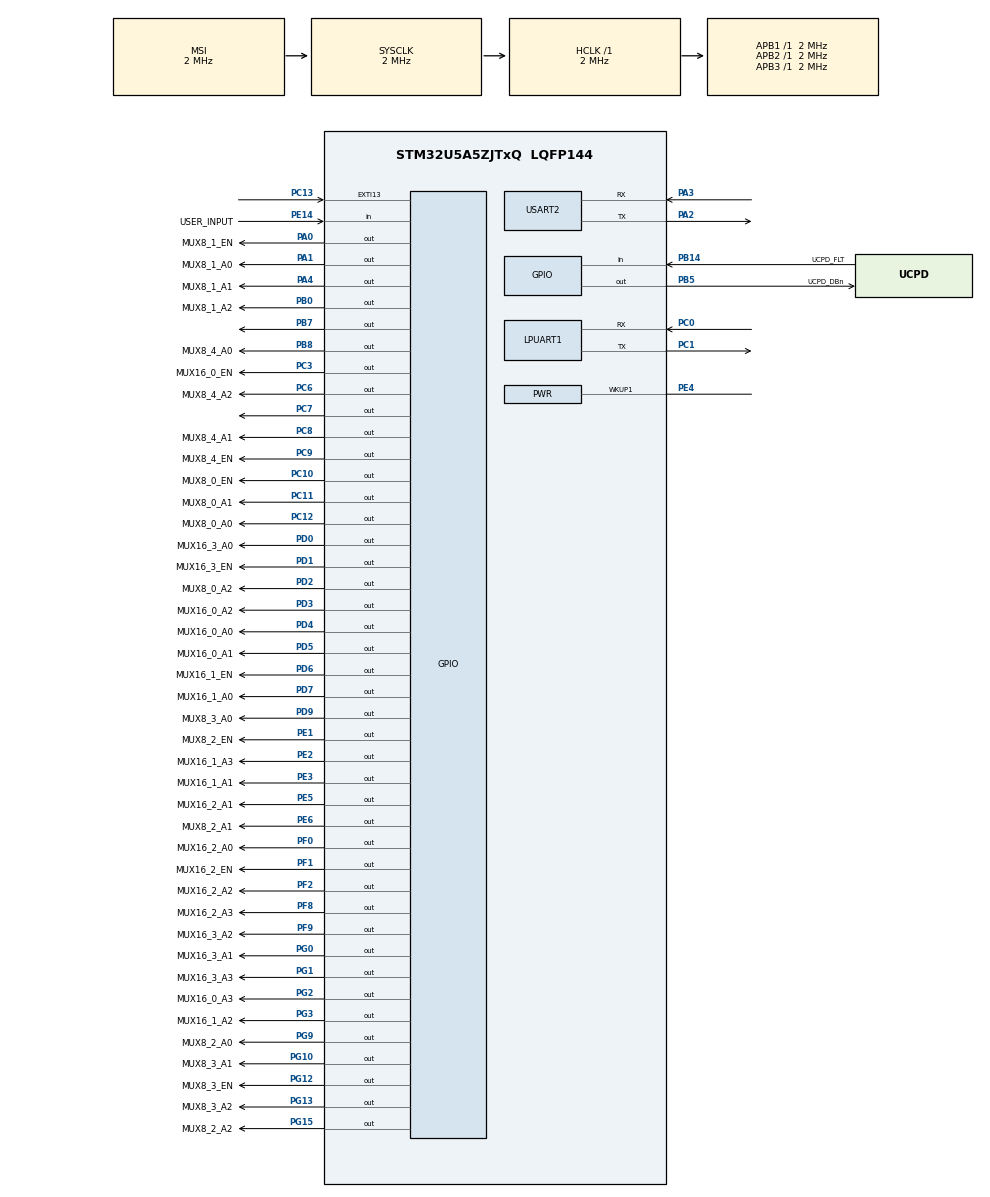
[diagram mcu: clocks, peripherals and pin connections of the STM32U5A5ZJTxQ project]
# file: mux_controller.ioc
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CORTEX_M33_NS.AccessPermission-Cortex_Memory_Protection_Unit_Region0_Settings=MPU_REGION_PRIV_RO
CORTEX_M33_NS.AllocateAttribute-Cortex_Memory_Protection_Unit_Region0_Settings=MPU_R_ALLOCATE
CORTEX_M33_NS.AllocateAttribute-Cortex_Memory_Protection_Unit_Region1_Settings=MPU_RW_ALLOCATE
CORTEX_M33_NS.AttributesIndex-Cortex_Memory_Protection_Unit_Region1_Settings=MPU_ATTRIBUTES_NUMBER1
CORTEX_M33_NS.BaseAddress-Cortex_Memory_Protection_Unit_Region0_Settings=0x08000000
CORTEX_M33_NS.BaseAddress-Cortex_Memory_Protection_Unit_Region1_Settings=0x20000000
CORTEX_M33_NS.CacheableAttribute-Cortex_Memory_Protection_Unit_Region1_Settings=MPU_WRITE_BACK
CORTEX_M33_NS.Enable-Cortex_Memory_Protection_Unit_Region0_Settings=MPU_REGION_ENABLE
CORTEX_M33_NS.Enable-Cortex_Memory_Protection_Unit_Region1_Settings=MPU_REGION_ENABLE
CORTEX_M33_NS.LimitAddress-Cortex_Memory_Protection_Unit_Region0_Settings=0x083FFFFF
CORTEX_M33_NS.LimitAddress-Cortex_Memory_Protection_Unit_Region1_Settings=0x2026FFFF
CORTEX_M33_NS.MPU_Control=__NULL
CORTEX_M33_NS.Number-Cortex_Memory_Protection_Unit_Region1_Settings=MPU_REGION_NUMBER1
CORTEX_M33_NS.userName=CORTEX_M33
FLASH.B1_BLOCK_active=true
FLASH.B1_endPage=511
FLASH.OB_BOR_Level_active=true
FLASH.OB_Boot_Configuration_active_NS0=true
FLASH.OB_NRST_STOP_UI=OB_STOP_NOUPD
FLASH.OB_NSBOOTADD0_Address=0x08000000
FLASH.OB_User_Configuration_active=false
GTZC.MPCBB1_Area_Privilege=GTZC_MPCBB_REGION_NPRIV
GTZC.MPCBB1_Area_Privilege_Choice=from full Privileged
GTZC.MPCBB1_SecConfig_array=00000000\:00000000\:00000000\:00000000\:00000000\:00000000\:00000000\:00000000\:00000000\:00000000\:00000000\:00000000\:00000000\:00000000\:00000000\:00000000\:00000000\:00000000\:00000000\:00000000\:00000000\:00000000\:00000000\:00000000\:00000000\:00000000\:00000000\:00000000\:00000000\:00000000\:00000000\:00000000\:00000000\:00000000\:00000000\:00000000\:00000000\:00000000\:00000000\:00000000\:00000000\:00000000\:00000000\:00000000\:00000000\:00000000\:00000000\:00000000
GTZC.MPCBB2_Area2_Privilege_Start_Address=0x200C0000
GTZC.MPCBB2_Area_Privilege=GTZC_MPCBB_REGION_NPRIV
GTZC.MPCBB2_Area_Privilege_Choice=from full Privileged
GTZC.MPCBB2_Area_Privilege_Start_Address=0x200C0000
GTZC.MPCBB2_SecConfig_array=00000000\:00000000\:00000000\:00000000\:00000000\:00000000\:00000000\:00000000\:00000000\:00000000\:00000000\:00000000\:00000000\:00000000\:00000000\:00000000\:00000000\:00000000\:00000000\:00000000\:00000000\:00000000\:00000000\:00000000\:00000000\:00000000\:00000000\:00000000\:00000000\:00000000\:00000000\:00000000\:00000000\:00000000\:00000000\:00000000\:00000000\:00000000\:00000000\:00000000\:00000000\:00000000\:00000000\:00000000\:00000000\:00000000\:00000000\:00000000\:00000000\:00000000\:00000000\:00000000
GTZC.MPCBB3_Area2_Privilege_Start_Address=0x200D0000
GTZC.MPCBB3_Area_Privilege=GTZC_MPCBB_REGION_NPRIV
GTZC.MPCBB3_Area_Privilege_Choice=from full Privileged
GTZC.MPCBB3_Area_Privilege_Start_Address=0x200D0000
GTZC.MPCBB3_SecConfig_array=00000000\:00000000\:00000000\:00000000\:00000000\:00000000\:00000000\:00000000\:00000000\:00000000\:00000000\:00000000\:00000000\:00000000\:00000000\:00000000\:00000000\:00000000\:00000000\:00000000\:00000000\:00000000\:00000000\:00000000\:00000000\:00000000\:00000000\:00000000\:00000000\:00000000\:00000000\:00000000\:00000000\:00000000\:00000000\:00000000\:00000000\:00000000\:00000000\:00000000\:00000000\:00000000\:00000000\:00000000\:00000000\:00000000\:00000000\:00000000\:00000000\:00000000\:00000000\:00000000
GTZC.MPCBB4_PrivConfig_array=00000000
GTZC.MPCBB4_SecConfig_array=00000000
GTZC.MPCBB5_Area2_Privilege_Start_Address=0x201A0000
GTZC.MPCBB5_Area_Privilege=GTZC_MPCBB_REGION_NPRIV
GTZC.MPCBB5_Area_Privilege_Choice=from full Privileged
GTZC.MPCBB5_Area_Privilege_Start_Address=0x201A0000
GTZC.MPCBB5_SecConfig_array=00000000\:00000000\:00000000\:00000000\:00000000\:00000000\:00000000\:00000000\:00000000\:00000000\:00000000\:00000000\:00000000\:00000000\:00000000\:00000000\:00000000\:00000000\:00000000\:00000000\:00000000\:00000000\:00000000\:00000000\:00000000\:00000000\:00000000\:00000000\:00000000\:00000000\:00000000\:00000000\:00000000\:00000000\:00000000\:00000000\:00000000\:00000000\:00000000\:00000000\:00000000\:00000000\:00000000\:00000000\:00000000\:00000000\:00000000\:00000000\:00000000\:00000000\:00000000\:00000000
HASH.SecureHashAlgorithmType=SHA256
HASH.pKey=__NULL
LPTIM2.ClockPrescaler=LPTIM_PRESCALER_DIV1
LPTIM2.UpdateMode=LPTIM_UPDATE_ENDOFPERIOD
LPTIM3.ClockPrescaler=LPTIM_PRESCALER_DIV4
Mcu.Family=STM32U5
Mcu.Name=STM32U5A5ZJTxQ
Mcu.Package=LQFP144
NUCLEO-U5A5ZJ-Q.BUTTON=1
NUCLEO-U5A5ZJ-Q.Bsp_Common_DEMO=true
NUCLEO-U5A5ZJ-Q.LD1=true
NUCLEO-U5A5ZJ-Q.LD2=true
NUCLEO-U5A5ZJ-Q.LD3=true
NUCLEO-U5A5ZJ-Q.VCP=true
NVIC.AES_IRQn=true\:0\:0\:false\:false\:true\:true\:true\:true
NVIC.CORDIC_IRQn=true\:0\:0\:false\:false\:true\:true\:true\:true
NVIC.EXTI13_IRQn=true\:0\:0\:false\:false\:true\:false\:true\:true
NVIC.FMAC_IRQn=true\:0\:0\:false\:false\:true\:true\:true\:true
NVIC.FPU_IRQn=true\:0\:0\:false\:false\:true\:true\:false\:true
NVIC.HASH_IRQn=true\:0\:0\:false\:false\:true\:true\:true\:true
NVIC.LPTIM2_IRQn=true\:0\:0\:false\:false\:true\:true\:true\:true
NVIC.LPTIM3_IRQn=true\:0\:0\:false\:false\:true\:true\:true\:true
NVIC.LPUART1_IRQn=true\:0\:0\:false\:false\:true\:true\:true\:true
NVIC.OTFDEC1_IRQn=true\:0\:0\:false\:false\:true\:true\:true\:true
NVIC.OTFDEC2_IRQn=true\:0\:0\:false\:false\:true\:true\:true\:true
NVIC.PKA_IRQn=true\:0\:0\:false\:false\:true\:true\:true\:true
NVIC.PWR_S3WU_IRQn=true\:0\:0\:false\:false\:true\:true\:true\:true
NVIC.PriorityGroup=NVIC_PRIORITYGROUP_4
NVIC.RCC_IRQn=true\:0\:0\:false\:false\:true\:true\:false\:true
NVIC.RNG_IRQn=true\:0\:0\:false\:false\:true\:true\:true\:true
NVIC.TIM4_IRQn=true\:15\:0\:false\:false\:true\:false\:true\:true
NVIC.TimeBase=TIM4_IRQn
NVIC.TimeBaseIP=TIM4
NVIC.USART2_IRQn=true\:0\:0\:false\:false\:true\:true\:true\:true
PA0.GPIO_Label=MUX8_1_EN
PA0.GPIO_Speed=GPIO_SPEED_FREQ_MEDIUM
PA0.Signal=GPIO_Output
PA1.GPIO_Label=MUX8_1_A0
PA1.GPIO_Speed=GPIO_SPEED_FREQ_MEDIUM
PA1.Signal=GPIO_Output
PA10.Signal=USART1_RX
PA13\ (JTMS/SWDIO).Mode=Trace_Asynchronous_SW
PA13\ (JTMS/SWDIO).Signal=DEBUG_JTMS-SWDIO
PA14\ (JTCK/SWCLK).Mode=Trace_Asynchronous_SW
PA14\ (JTCK/SWCLK).Signal=DEBUG_JTCK-SWCLK
PA15\ (JTDI).Signal=UCPD1_CC1
PA2.Mode=Asynchronous
PA2.Signal=USART2_TX
PA3.Mode=Asynchronous
PA3.Signal=USART2_RX
PA4.GPIO_Label=MUX8_1_A1
PA4.GPIO_Speed=GPIO_SPEED_FREQ_MEDIUM
PA4.Signal=GPIO_Output
PA9.Signal=USART1_TX
PB0.GPIO_Label=MUX8_1_A2
PB0.GPIO_Speed=GPIO_SPEED_FREQ_MEDIUM
PB0.Signal=GPIO_Output
PB14.GPIO_Label=UCPD_FLT
PB14.Signal=GPIO_Input
PB15.Signal=UCPD1_CC2
PB3\ (JTDO/TRACESWO).Mode=Trace_Asynchronous_SW
PB3\ (JTDO/TRACESWO).Signal=DEBUG_JTDO-SWO
PB5.GPIO_Label=UCPD_DBn
PB5.Signal=GPIO_Output
PB7.Signal=GPIO_Output
PB8.GPIO_Label=MUX8_4_A0
PB8.GPIO_Speed=GPIO_SPEED_FREQ_MEDIUM
PB8.Signal=GPIO_Output
PC0.Mode=Asynchronous
PC0.Signal=LPUART1_RX
PC1.Mode=Asynchronous
PC1.Signal=LPUART1_TX
PC10.GPIO_Label=MUX8_0_EN
PC10.GPIO_Speed=GPIO_SPEED_FREQ_MEDIUM
PC10.Signal=GPIO_Output
PC11.GPIO_Label=MUX8_0_A1
PC11.GPIO_Speed=GPIO_SPEED_FREQ_MEDIUM
PC11.Signal=GPIO_Output
PC12.GPIO_Label=MUX8_0_A0
PC12.GPIO_Speed=GPIO_SPEED_FREQ_MEDIUM
PC12.PinState=GPIO_PIN_RESET
PC12.Signal=GPIO_Output
PC13.Signal=GPXTI13
PC14-OSC32_IN\ (PC14).Mode=LSE-External-Oscillator
PC14-OSC32_IN\ (PC14).Signal=RCC_OSC32_IN
PC15-OSC32_OUT\ (PC15).Mode=LSE-External-Oscillator
PC15-OSC32_OUT\ (PC15).Signal=RCC_OSC32_OUT
PC2.GPIO_Label=VBUS_SENSE
PC2.Signal=ADC1_IN3
PC3.GPIO_Label=MUX16_0_EN
PC3.GPIO_Speed=GPIO_SPEED_FREQ_MEDIUM
PC3.Signal=GPIO_Output
PC6.GPIO_Label=MUX8_4_A2
PC6.GPIO_Speed=GPIO_SPEED_FREQ_MEDIUM
PC6.Signal=GPIO_Output
PC7.Signal=GPIO_Output
PC8.GPIO_Label=MUX8_4_A1
PC8.GPIO_Speed=GPIO_SPEED_FREQ_MEDIUM
PC8.Signal=GPIO_Output
PC9.GPIO_Label=MUX8_4_EN
PC9.GPIO_Speed=GPIO_SPEED_FREQ_MEDIUM
PC9.Signal=GPIO_Output
PD0.GPIO_Label=MUX16_3_A0
PD0.GPIO_Speed=GPIO_SPEED_FREQ_MEDIUM
PD0.Signal=GPIO_Output
PD1.GPIO_Label=MUX16_3_EN
PD1.GPIO_Speed=GPIO_SPEED_FREQ_MEDIUM
PD1.Signal=GPIO_Output
PD2.GPIO_Label=MUX8_0_A2
PD2.GPIO_Speed=GPIO_SPEED_FREQ_MEDIUM
PD2.Signal=GPIO_Output
PD3.GPIO_Label=MUX16_0_A2
PD3.GPIO_Speed=GPIO_SPEED_FREQ_MEDIUM
PD3.Signal=GPIO_Output
PD4.GPIO_Label=MUX16_0_A0
PD4.GPIO_Speed=GPIO_SPEED_FREQ_MEDIUM
PD4.Signal=GPIO_Output
PD5.GPIO_Label=MUX16_0_A1
PD5.GPIO_Speed=GPIO_SPEED_FREQ_MEDIUM
PD5.Signal=GPIO_Output
PD6.GPIO_Label=MUX16_1_EN
PD6.GPIO_Speed=GPIO_SPEED_FREQ_MEDIUM
PD6.Signal=GPIO_Output
PD7.GPIO_Label=MUX16_1_A0
PD7.GPIO_Speed=GPIO_SPEED_FREQ_MEDIUM
PD7.Signal=GPIO_Output
PD9.GPIO_Label=MUX8_3_A0
PD9.GPIO_Speed=GPIO_SPEED_FREQ_MEDIUM
PD9.Signal=GPIO_Output
PE1.GPIO_Label=MUX8_2_EN
PE1.GPIO_Speed=GPIO_SPEED_FREQ_MEDIUM
PE1.Signal=GPIO_Output
PE14.GPIO_Label=USER_INPUT
PE14.Signal=GPIO_Input
PE2.GPIO_Label=MUX16_1_A3
PE2.GPIO_Speed=GPIO_SPEED_FREQ_MEDIUM
PE2.Signal=GPIO_Output
PE3.GPIO_Label=MUX16_1_A1
PE3.GPIO_Speed=GPIO_SPEED_FREQ_MEDIUM
PE3.Signal=GPIO_Output
PE4.Mode=WakeUp1
PE4.Signal=PWR_WKUP1
PE5.GPIO_Label=MUX16_2_A1
PE5.GPIO_Speed=GPIO_SPEED_FREQ_MEDIUM
PE5.Signal=GPIO_Output
PE6.GPIO_Label=MUX8_2_A1
PE6.GPIO_Speed=GPIO_SPEED_FREQ_MEDIUM
PE6.Signal=GPIO_Output
PF0.GPIO_Label=MUX16_2_A0
PF0.GPIO_Speed=GPIO_SPEED_FREQ_MEDIUM
PF0.Signal=GPIO_Output
PF1.GPIO_Label=MUX16_2_EN
PF1.GPIO_Speed=GPIO_SPEED_FREQ_MEDIUM
PF1.Signal=GPIO_Output
PF2.GPIO_Label=MUX16_2_A2
PF2.GPIO_Speed=GPIO_SPEED_FREQ_MEDIUM
PF2.Signal=GPIO_Output
PF8.GPIO_Label=MUX16_2_A3
PF8.GPIO_Speed=GPIO_SPEED_FREQ_MEDIUM
PF8.Signal=GPIO_Output
PF9.GPIO_Label=MUX16_3_A2
PF9.GPIO_Speed=GPIO_SPEED_FREQ_MEDIUM
PF9.Signal=GPIO_Output
PG0.GPIO_Label=MUX16_3_A1
PG0.GPIO_Speed=GPIO_SPEED_FREQ_MEDIUM
PG0.Signal=GPIO_Output
PG1.GPIO_Label=MUX16_3_A3
PG1.GPIO_Speed=GPIO_SPEED_FREQ_MEDIUM
PG1.Signal=GPIO_Output
PG10.GPIO_Label=MUX8_3_A1
PG10.GPIO_Speed=GPIO_SPEED_FREQ_MEDIUM
PG10.Signal=GPIO_Output
PG12.GPIO_Label=MUX8_3_EN
PG12.GPIO_Speed=GPIO_SPEED_FREQ_MEDIUM
PG12.Signal=GPIO_Output
PG13.GPIO_Label=MUX8_3_A2
PG13.GPIO_Speed=GPIO_SPEED_FREQ_MEDIUM
PG13.Signal=GPIO_Output
PG15.GPIO_Label=MUX8_2_A2
PG15.GPIO_Speed=GPIO_SPEED_FREQ_MEDIUM
PG15.Signal=GPIO_Output
PG2.GPIO_Label=MUX16_0_A3
PG2.GPIO_Speed=GPIO_SPEED_FREQ_MEDIUM
PG2.Signal=GPIO_Output
PG3.GPIO_Label=MUX16_1_A2
PG3.GPIO_Speed=GPIO_SPEED_FREQ_MEDIUM
PG3.Signal=GPIO_Output
PG9.GPIO_Label=MUX8_2_A0
PG9.GPIO_Speed=GPIO_SPEED_FREQ_MEDIUM
PG9.Signal=GPIO_Output
PH0-OSC_IN\ (PH0).Mode=HSE-External-Oscillator
PH0-OSC_IN\ (PH0).Signal=RCC_OSC_IN
PH1-OSC_OUT\ (PH1).Mode=HSE-External-Oscillator
PH1-OSC_OUT\ (PH1).Signal=RCC_OSC_OUT
PWR.PowerMode=PWR_SMPS_SUPPLY
ProjectManager.HeapSize=0x200
ProjectManager.StackSize=0x400
ProjectManager.TargetToolchain=STM32CubeIDE
RCC.ADCFreq_Value=16000000
RCC.AHBFreq_Value=2000000
RCC.APB1Freq_Value=2000000
RCC.APB1TimFreq_Value=2000000
RCC.APB2Freq_Value=2000000
RCC.APB2TimFreq_Value=2000000
RCC.APB3Freq_Value=2000000
RCC.CortexFreq_Value=2000000
RCC.DACCLockSelectionVirtual=RCC_DAC1CLKSOURCE_LSI
RCC.EPOD_VALUE=8000000
RCC.HCLKFreq_Value=2000000
RCC.HSE_VALUE=8000000
RCC.HSI48_VALUE=48000000
RCC.HSI_VALUE=16000000
RCC.LPTIM2CLockSelectionVirtual=RCC_LPTIM2CLKSOURCE_HSI
RCC.LSIDIV_VALUE=32000
RCC.MSIAutoCalibration=DISABLED
RCC.MSIClockRange=RCC_MSIRANGE_5
RCC.MSI_VALUE=2000000
RCC.PLL1P=4
RCC.PLL3FRACN=0
RCC.PLLFRACN=0
RCC.PLLN=24
RCC.PLLSourceVirtual=RCC_PLLSOURCE_HSE
RCC.SYSCLKFreq_VALUE=2000000
RCC.USBPHYCLockSelection=RCC_USBPHYCLKSOURCE_PLL1_DIV2
RCC.VCOOutputFreq_Value=192000000
RTC.Month=RTC_MONTH_JANUARY
RTC.WeekDay=RTC_WEEKDAY_WEDNESDAY
RTC.Year=25
USART2.VirtualMode-Asynchronous=VM_ASYNC
VP_AES_VS_AES.Mode=AES_Activate
VP_CORDIC_VS_CORDIC.Mode=CORDIC_Activate
VP_CRC_VS_CRC.Mode=CRC_Activate
VP_DCACHE1_VS_DCACHE.Mode=DCACHE_Activate
VP_FLASH_SIG_Activate_FlashIP.Mode=Activate_FlashIP
VP_FMAC_VS_FMAC.Mode=FMAC_Activate
VP_GTZC_VS_GTZC_Enable.Mode=GTZC_Enable
VP_HASH_VS_HASH.Mode=HASH_Activate
VP_ICACHE_VS_ICACHE.Mode=DirectMappedCache
VP_LPBAMQUEUE_VS_QUEUE.Mode=QUEUEMODE
VP_LPBAM_VS_SIG1.Mode=SmartRun
VP_LPBAM_VS_SIG4.Mode=LPDMA1
VP_LPTIM2_VS_LPTIM_counterModeInternalClock.Mode=Counts__internal_clock_event_00
VP_LPTIM3_VS_LPTIM_counterModeInternalClock.Mode=Counts__internal_clock_event_00
VP_MEMORYMAP_VS_MEMORYMAP.Mode=CurAppReg
VP_NUCLEO-U5A5ZJ-Q_VS_BSP_COMMON.Mode=COMMON
VP_OTFDEC1_VS_OTFDEC.Mode=OTFDEC_Activate
VP_OTFDEC2_VS_OTFDEC.Mode=OTFDEC_Activate
VP_PKA_VS_PKA.Mode=PKA_Activate
VP_PWR_VS_DBSignals.Mode=DisableDeadBatterySignals
VP_PWR_VS_LPOM.Mode=PowerOptimisation
VP_PWR_VS_SECSignals.Mode=Security/Privilege
VP_RNG_VS_RNG.Mode=RNG_Activate
VP_RTC_VS_RTC_Activate.Mode=RTC_Enabled
VP_RTC_VS_RTC_Calendar.Mode=RTC_Calendar
VP_SAES_VS_SAES.Mode=SAES_Activate
VP_SYS_VS_tim4.Mode=TIM4
board=NUCLEO-U5A5ZJ-Q
wolfSSL.I-CUBE-wolfSSL.5.7.6.WOLF_CONF_AESGCM=0
wolfSSL.I-CUBE-wolfSSL.5.7.6.WOLF_CONF_CHAPOLY=0
wolfSSL.I-CUBE-wolfSSL.5.7.6.WOLF_CONF_DEBUG=1
wolfSSL.I-CUBE-wolfSSL.5.7.6.WOLF_CONF_ECC=0
wolfSSL.I-CUBE-wolfSSL.5.7.6.WOLF_CONF_MATH=1
wolfSSL.I-CUBE-wolfSSL.5.7.6.WOLF_CONF_OPENSSL_EXTRA=1
wolfSSL.I-CUBE-wolfSSL.5.7.6.WOLF_CONF_TLS12=0
wolfSSL.I-CUBE-wolfSSL.5.7.6.WOLF_CONF_TLS13=0
wolfSSL.I-CUBE-wolfSSL.5.7.6.WOLF_CONF_WOLFCRYPT_ONLY=1

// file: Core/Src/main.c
/* USER CODE BEGIN Header */
/**
  ******************************************************************************
  * @file           : main.c
  * @brief          : Main program body
  ******************************************************************************
  * @attention
  *
  * Copyright (c) 2025 STMicroelectronics.
  * All rights reserved.
  *
  * This software is licensed under terms that can be found in the LICENSE file
  * in the root directory of this software component.
  * If no LICENSE file comes with this software, it is provided AS-IS.
  *
  ******************************************************************************
  */
/* USER CODE END Header */
#include "main.h"
#include "aes.h"
#include "cordic.h"
#include "crc.h"
#include "dcache.h"
#include "flash.h"
#include "fmac.h"
#include "gtzc.h"
#include "hash.h"
#include "icache.h"
#include "lptim.h"
#include "usart.h"
#include "memorymap.h"
#include "otfdec.h"
#include "pka.h"
#include "rng.h"
#include "rtc.h"
#include "gpio.h"

/* USER CODE BEGIN Includes */
#include "stm32u5xx_it.h"
#include <stdint.h>
#include <string.h>
/* USER CODE END Includes */

/* USER CODE BEGIN PD */
#define TICKS_PER_ITERATION_MS		10U
#define RNG_TIMEOUT					100U
#define UART_TX_SIZE				16U

#define RSA_MODULUS_SIZE 			128U
#define RSA_INPUT_SIZE   			128U
#define RSA_EXPONENT_SIZE 			3U

#define ENCRYPTION_TYPE_NONE		(uint8_t)0U
#define ENCRYPTION_TYPE_AES			(uint8_t)1U
#define ENCRYPTION_TYPE_RSA			(uint8_t)2U

/* USER CODE END PD */

COM_InitTypeDef BspCOMInit;
__IO uint32_t BspButtonState = BUTTON_RELEASED;

void SystemClock_Config(void);
static void SystemPower_Config(void);
/* USER CODE BEGIN PFP */
HAL_StatusTypeDef rsa_encrypt(const uint8_t *message, uint32_t message_size, const uint8_t *modulus, uint32_t modulus_size, const uint8_t *exponent, uint32_t exponent_size, uint8_t *output);
void aes_generate_and_store_key();
void hal_callback_lptim2_update_event(LPTIM_HandleTypeDef *hlptim);
void hal_callback_lpuart_tx_complete(UART_HandleTypeDef *huart);
void hal_callback_rng_random_number_ready(RNG_HandleTypeDef *hrng, uint32_t random32bit);
/* USER CODE END PFP */

/* USER CODE BEGIN 0 */

#define USE_TIMER	0U

uint32_t lptim2_count;
uint8_t  randon_number_generated = 0U;
uint32_t random_uint32 = 0U;
uint8_t  rng_timeout = 0U;
uint32_t rng_timeout_start = 0U;

uint32_t data[4] = { 0x00000001, 0x00000003, 0x00000005, 0x00000007 };
uint32_t output[4] = { 0x00000000, 0x00000000, 0x00000000, 0x00000000 };
uint32_t decryp_result[4] = { 0x00000000, 0x00000000, 0x00000000, 0x00000000 };

/* USER CODE END 0 */

int main(void)
{

  /* USER CODE BEGIN 1 */
#if (USE_TIMER == 1U)
	static uint32_t tick_count_ms;
#endif

  /* USER CODE END 1 */

  /* MCU Configuration--------------------------------------------------------*/

  /* Reset of all peripherals, Initializes the Flash interface and the Systick. */
  HAL_Init();

  /* Configure the System Power */
  SystemPower_Config();

  /* Configure the system clock */
  SystemClock_Config();
  /* GTZC initialisation */
  MX_GTZC_Init();

  /* Initialize all configured peripherals */
  MX_GPIO_Init();
  MX_DCACHE1_Init();
  MX_FLASH_Init();
  MX_ICACHE_Init();
  MX_AES_Init();
  MX_SAES_AES_Init();
  MX_CORDIC_Init();
  MX_CRC_Init();
  MX_FMAC_Init();
  MX_HASH_Init();
  MX_LPTIM2_Init();
  MX_LPTIM3_Init();
  MX_LPUART1_UART_Init();
  MX_USART2_UART_Init();
  MX_RNG_Init();
  MX_PKA_Init();
  MX_RTC_Init();
  MX_OTFDEC1_Init();
  MX_OTFDEC2_Init();

  /* Infinite loop */
  /* USER CODE BEGIN WHILE */

  HAL_UART_RegisterCallback(&hlpuart1, HAL_UART_TX_COMPLETE_CB_ID, hal_callback_lpuart_tx_complete);
  HAL_LPTIM_RegisterCallback(&hlptim2, HAL_LPTIM_UPDATE_EVENT_CB_ID, hal_callback_lptim2_update_event);
  HAL_LPTIM_Counter_Start_IT(&hlptim2);
  HAL_RNG_RegisterReadyDataCallback(&hrng, hal_callback_rng_random_number_ready);

  HAL_GPIO_WritePin(MUX8_0_EN_GPIO_Port, MUX8_0_EN_Pin, GPIO_PIN_SET);
  HAL_GPIO_WritePin(MUX16_0_EN_GPIO_Port, MUX16_0_EN_Pin, GPIO_PIN_SET);
  HAL_GPIO_WritePin(MUX16_0_A0_GPIO_Port, MUX16_0_A0_Pin, GPIO_PIN_SET);
  HAL_GPIO_WritePin(MUX16_0_A1_GPIO_Port, MUX16_0_A1_Pin, GPIO_PIN_SET);
  HAL_GPIO_WritePin(MUX16_0_A2_GPIO_Port, MUX16_0_A2_Pin, GPIO_PIN_SET);

  while (1)
  {
    /* USER CODE END WHILE */

  }
}

void SystemClock_Config(void)
{
  RCC_OscInitTypeDef RCC_OscInitStruct = {0};
  RCC_ClkInitTypeDef RCC_ClkInitStruct = {0};

  /** Configure the main internal regulator output voltage
  */
  if (HAL_PWREx_ControlVoltageScaling(PWR_REGULATOR_VOLTAGE_SCALE3) != HAL_OK)
  {
    Error_Handler();
  }

  /** Initializes the CPU, AHB and APB buses clocks
  */
  RCC_OscInitStruct.OscillatorType = RCC_OSCILLATORTYPE_HSI48|RCC_OSCILLATORTYPE_HSI
                              |RCC_OSCILLATORTYPE_LSI|RCC_OSCILLATORTYPE_MSI
                              |RCC_OSCILLATORTYPE_MSIK|RCC_OSCILLATORTYPE_SHSI;
  RCC_OscInitStruct.HSIState = RCC_HSI_ON;
  RCC_OscInitStruct.HSI48State = RCC_HSI48_ON;
  RCC_OscInitStruct.HSICalibrationValue = RCC_HSICALIBRATION_DEFAULT;
  RCC_OscInitStruct.LSIState = RCC_LSI_ON;
  RCC_OscInitStruct.MSIState = RCC_MSI_ON;
  RCC_OscInitStruct.MSICalibrationValue = RCC_MSICALIBRATION_DEFAULT;
  RCC_OscInitStruct.MSIClockRange = RCC_MSIRANGE_5;
  RCC_OscInitStruct.LSIDiv = RCC_LSI_DIV1;
  RCC_OscInitStruct.MSIKClockRange = RCC_MSIKRANGE_4;
  RCC_OscInitStruct.SHSIState = RCC_SHSI_ON;
  RCC_OscInitStruct.MSIKState = RCC_MSIK_ON;
  RCC_OscInitStruct.PLL.PLLState = RCC_PLL_NONE;
  if (HAL_RCC_OscConfig(&RCC_OscInitStruct) != HAL_OK)
  {
    Error_Handler();
  }

  /** Initializes the CPU, AHB and APB buses clocks
  */
  RCC_ClkInitStruct.ClockType = RCC_CLOCKTYPE_HCLK|RCC_CLOCKTYPE_SYSCLK
                              |RCC_CLOCKTYPE_PCLK1|RCC_CLOCKTYPE_PCLK2
                              |RCC_CLOCKTYPE_PCLK3;
  RCC_ClkInitStruct.SYSCLKSource = RCC_SYSCLKSOURCE_MSI;
  RCC_ClkInitStruct.AHBCLKDivider = RCC_SYSCLK_DIV1;
  RCC_ClkInitStruct.APB1CLKDivider = RCC_HCLK_DIV1;
  RCC_ClkInitStruct.APB2CLKDivider = RCC_HCLK_DIV1;
  RCC_ClkInitStruct.APB3CLKDivider = RCC_HCLK_DIV1;

  if (HAL_RCC_ClockConfig(&RCC_ClkInitStruct, FLASH_LATENCY_0) != HAL_OK)
  {
    Error_Handler();
  }

  /** Enable the force of MSIK in stop mode
  */
  __HAL_RCC_MSIKSTOP_ENABLE();

  /** Enable the force of HSI in stop mode
  */
  __HAL_RCC_HSISTOP_ENABLE();
}

/**
  * @brief Power Configuration
  * @retval None
  */
static void SystemPower_Config(void)
{
  HAL_PWREx_EnableVddIO2();

  /*
   * Disable the internal Pull-Up in Dead Battery pins of UCPD peripheral
   */
  HAL_PWREx_DisableUCPDDeadBattery();

  /*
   * Switch to SMPS regulator instead of LDO
   */
  if (HAL_PWREx_ConfigSupply(PWR_SMPS_SUPPLY) != HAL_OK)
  {
    Error_Handler();
  }
  /* PWR_S3WU_IRQn interrupt configuration */
  HAL_NVIC_SetPriority(PWR_S3WU_IRQn, 0, 0);
  HAL_NVIC_EnableIRQ(PWR_S3WU_IRQn);
}

/* USER CODE BEGIN 4 */
void hal_callback_lptim2_update_event(LPTIM_HandleTypeDef *hlptim)
{
	if (lptim2_count > 10000000U)
	{
		lptim2_count = 0U;
	}
	else
	{
		++lptim2_count;
	}
}

void hal_callback_lpuart_tx_complete(UART_HandleTypeDef *huart)
{

}

void hal_callback_rng_random_number_ready(RNG_HandleTypeDef *hrng, uint32_t random32bit)
{
	random_uint32 = random32bit;
	randon_number_generated = 1U;
}

void aes_generate_and_store_key()
{
	// generate 4 random words and set AES key
	for (uint8_t word = 0U; word < 4U; ++word)
	{
		// generate 32 bit random number
		HAL_RNG_GenerateRandomNumber_IT(&hrng);
		rng_timeout_start = lptim2_count;

		while (randon_number_generated == 0U && !rng_timeout)
		{
			if (lptim2_count - rng_timeout_start > RNG_TIMEOUT)
			{
				rng_timeout = 1U;
			}
		}

		// set generated 32 bit random number at current index of AES key
		hal_cryp_aes_set_aes_key_word_at_index(random_uint32, word);

		rng_timeout = 0U;
		randon_number_generated = 0U;
	}
}

/* Perform RSA encryption using PKA */
HAL_StatusTypeDef rsa_encrypt(const uint8_t *message, uint32_t message_size, const uint8_t *modulus, uint32_t modulus_size, const uint8_t *exponent, uint32_t exponent_size, uint8_t *output)
{
    HAL_StatusTypeDef status;
    PKA_ModExpInTypeDef in;

    /* Set up input structure */
    in.expSize = exponent_size;
    in.OpSize = modulus_size;
    in.pExp = exponent;
    in.pOp1 = message;
    in.pMod = modulus;

    /* Perform modular exponentiation */
    status = HAL_PKA_ModExp(&hpka, &in, HAL_MAX_DELAY);
    if (status != HAL_OK)
    {
        return status;
    }

    /* Get the result */
    HAL_PKA_ModExp_GetResult(&hpka, (uint8_t *)output);

    return HAL_OK;
}

/* USER CODE END 4 */

void HAL_TIM_PeriodElapsedCallback(TIM_HandleTypeDef *htim)
{
  if (htim->Instance == TIM4) {
    HAL_IncTick();
  }
}

void Error_Handler(void)
{
  __disable_irq();
  while (1)
  {
  }
}
